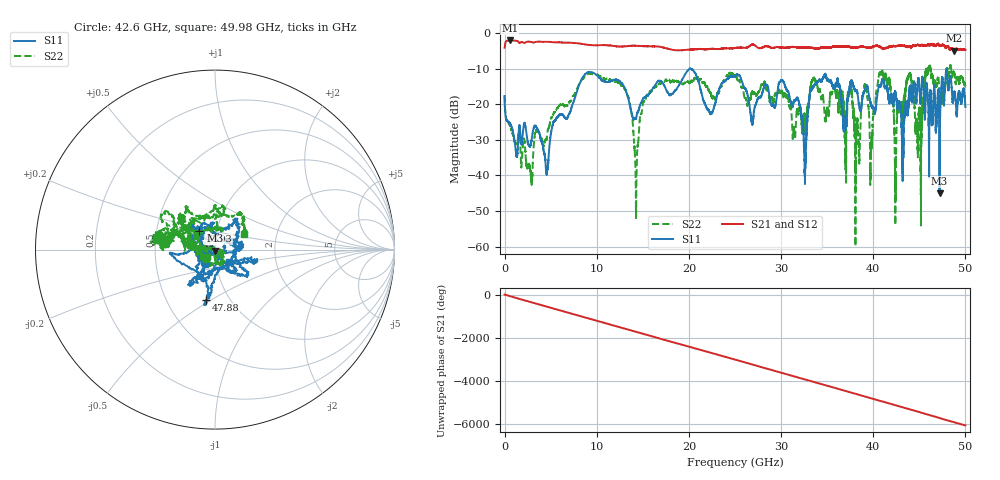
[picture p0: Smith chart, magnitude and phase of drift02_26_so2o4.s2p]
!Created with skrf (http://scikit-rf.org).
# Hz S RI R 50.0
!freq ReS11 ImS11 ReS21 ImS21 ReS12 ImS12 ReS22 ImS22
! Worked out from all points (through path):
!   10001 points, 300 kHz to 50 GHz, reference 50 ohm
!   highest |S21| = -2.00 dB at 555.3 MHz (marker M1); lowest = -4.8 dB at 48.76 GHz (marker M2)
!   group delay of S21, straight-line fit = 337 ps
!   lowest |S11| = -45.0 dB at 47.2 GHz (marker M3), VSWR 1.01, Z = 49.9 - j0.55 ohm
!   |S11| at or under -10 dB: start of sweep to 20.06 GHz; 20.20804 GHz to 20.22213 GHz (14.09 MHz wide, 0.0697 % of centre); 20.24 GHz to end of sweep (the widest 3 of 5)
!   |S22| runs from -59.9 to -8.8 dB; largest |S21 - S12| = 0.035
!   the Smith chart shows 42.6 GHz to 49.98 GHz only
!   S11 on the Smith chart (normalised r, x): 42.6 GHz: 0.89, -0.14; 43.93 GHz: 0.82, +0.17; 47.88 GHz: 0.78, -0.48; 49.98 GHz: 1.16, -0.16
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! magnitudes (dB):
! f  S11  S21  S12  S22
! 300 kHz  -17.6  -4.0  -4.0  -17.4
! 555.3 MHz  -25.2  -2.0  -2.0  -25.9
! 4.565 GHz  -39.6  -2.4  -2.4  -29.4
! 8.335 GHz  -13.0  -2.9  -2.9  -13.2
! 13.02 GHz  -15.3  -3.7  -3.6  -15.7
! 14.28 GHz  -23.8  -3.5  -3.5  -48.3
! 16.67 GHz  -13.4  -3.7  -3.7  -14.5
! 25 GHz  -12.0  -4.1  -4.1  -12.1
! 30.18 GHz  -13.3  -4.1  -4.1  -16.8
! 32.56 GHz  -39.3  -3.9  -3.9  -24.5
! 33.34 GHz  -15.7  -4.0  -4.1  -13.5
! 38.28 GHz  -16.9  -4.0  -4.0  -24.0
! 41.67 GHz  -18.4  -3.8  -3.9  -13.1
! 42.6 GHz  -20.5  -3.5  -3.5  -23.3
! 43.93 GHz  -17.2  -3.6  -3.6  -11.6
! 44.99 GHz  -14.3  -3.4  -3.3  -21.8
! 45.91 GHz  -18.3  -3.2  -3.2  -10.7
! 47.2 GHz  -45.0  -3.5  -3.5  -17.1
! 47.88 GHz  -10.9  -4.1  -4.0  -12.9
! 48.76 GHz  -17.2  -4.8  -4.8  -10.9
! 49.98 GHz  -19.7  -4.6  -4.6  -14.6
! 50 GHz  -20.7  -4.6  -4.6  -15.1
